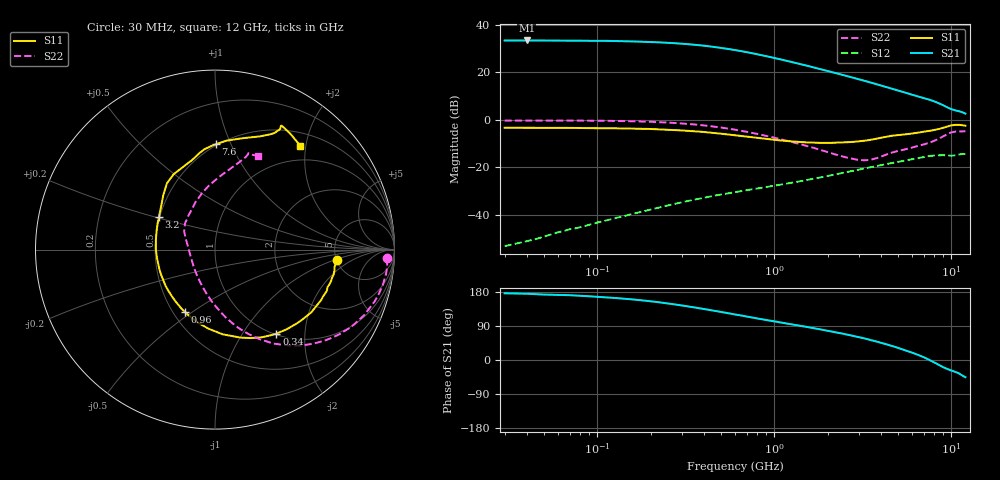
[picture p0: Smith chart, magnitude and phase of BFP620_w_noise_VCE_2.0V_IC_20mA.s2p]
! Infineon Technologies  Discrete & RF Semiconductors
! BFP620
! VCE =  2.0 V,  IC =  20 mA
! Common Emitter S-Parameters:  Nov 2015
# GHz  S  MA  R  50
!  f  S11  S21  S12  S22
! GHz  MAG  ANG  MAG  ANG  MAG  ANG  MAG  ANG
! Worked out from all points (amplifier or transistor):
!   239 points, 30 MHz to 12 GHz, reference 50 ohm
!   highest |S21| = 33.3 dB at 40 MHz (marker M1)
!   |S21| within 3 dB of that: start of sweep to 486.3 MHz
!   unconditionally stable (mu >= 1): 2.971 GHz to end of sweep
!   at 300 MHz: K = 0.29, MSG = 33.4 dB, |S12| = -34.7 dB
!   at 1.88 GHz: K = 0.90, MSG = 22.5 dB, |S12| = -24.1 dB
!   at 12 GHz: K = 1.10, MAG = 6.6 dB, |S12| = -14.4 dB
!   lowest NFmin = 0.95 dB at 450 MHz
!   S11 on the Smith chart (normalised r, x): 30 MHz: 5.00, -1.08; 340 MHz: 1.02, -1.44; 960 MHz: 0.57, -0.46; 3.2 GHz: 0.50, +0.20; 7.6 GHz: 0.49, +0.88; 12 GHz: 0.72, +1.90
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0.03  0.6795 -4.9  46.34 176.0  0.0022 70.6  0.9601 -2.9
0.04  0.6767 -6.8  46.49 174.9  0.0028 73.5  0.9618 -4.2
0.05  0.6732 -8.0  46.35 172.7  0.0035 74.9  0.9632 -5.4
0.07  0.6755 -11.9  46.29 171.0  0.005 78.2  0.9625 -8.1
0.085  0.6702 -14.4  45.94 168.9  0.0058 77.4  0.9591 -9.9
0.115  0.6625 -19.4  45.53 165.0  0.0078 76.6  0.9498 -13.8
0.15  0.6552 -25.3  44.66 160.8  0.01 75.6  0.935 -18.0
0.2  0.6402 -33.2  43.23 154.9  0.013 73.2  0.9072 -23.8
0.24  0.6221 -39.2  41.88 150.4  0.0152 71.0  0.8805 -28.2
0.3  0.5968 -48.2  39.84 144.0  0.0184 68.6  0.8381 -34.3
0.34  0.5797 -53.8  38.33 140.1  0.0203 66.8  0.8071 -38.1
0.45  0.5317 -68.0  34.23 130.5  0.025 62.8  0.7233 -47.6
0.6  0.4737 -84.9  29.21 120.1  0.0302 58.9  0.6183 -58.0
0.8  0.4165 -103.7  23.84 109.6  0.0359 56.0  0.5043 -68.5
0.96  0.3845 -116.2  20.64 103.4  0.0401 54.4  0.4348 -75.3
1.2  0.3544 -132.3  17.01 95.5  0.046 52.9  0.3554 -84.1
1.64  0.3308 -156.0  12.82 84.6  0.0569 50.5  0.2611 -98.5
2.4  0.3325 173.0  8.87 70.0  0.0753 45.4  0.1709 -127.1
3.2  0.3608 150.1  6.666 57.4  0.094 38.7  0.1408 -163.9
4.5  0.4565 125.9  4.621 38.5  0.121 26.9  0.1995 149.6
7.6  0.5869 89.6  2.606 -1.0  0.1734 -3.1  0.3348 100.2
12  0.7484 50.5  1.35 -45.5  0.1901 -39.9  0.5754 65.4
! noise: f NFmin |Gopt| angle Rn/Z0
0.45  0.95  0.03  -45  0.13
0.9  0.96  0.06  -126  0.12
1.9  0.96  0.11  -135  0.1
2.4  0.99  0.13  -132  0.1
3.5  1.04  0.21  -91  0.14
5.5  1.31  0.24  -83  0.17
10  1.72  0.6  -48  0.79
